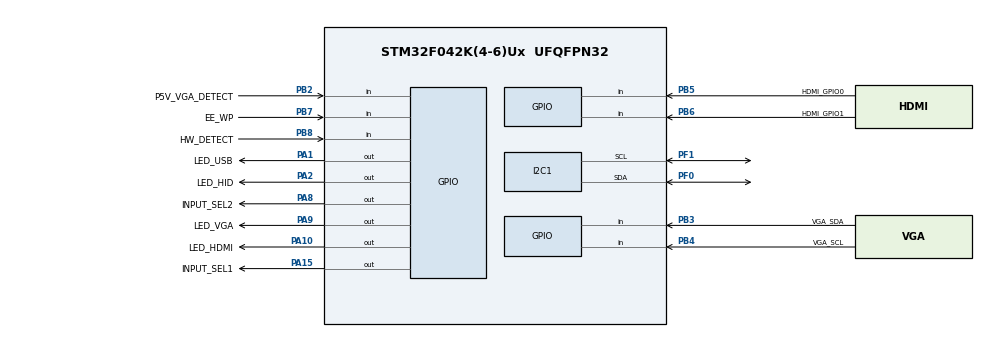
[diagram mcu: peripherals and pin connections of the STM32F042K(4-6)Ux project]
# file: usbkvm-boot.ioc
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Mcu.Family=STM32F0
PA9.GPIO_Label=LED_VGA
I2C1.I2C_Rise_Time=0x0
PB8.GPIO_PuPd=GPIO_PULLUP
PB6.GPIO_Label=HDMI_GPIO1
RCC.SYSCLKSource=RCC_SYSCLKSOURCE_HSI48
ProjectManager.StackSize=0x400
NVIC.I2C1_IRQn=true\:0\:0\:false\:false\:true\:true\:true
PA13.Signal=SYS_SWDIO
PB8.GPIO_Label=HW_DETECT
PA15.GPIO_Label=INPUT_SEL1
PA8.GPIO_Label=INPUT_SEL2
ProjectManager.TargetToolchain=Makefile
RCC.HCLKFreq_Value=48000000
PA9.Signal=GPIO_Output
PB6.Signal=GPIO_Input
PA1.Signal=GPIO_Output
RCC.AHBFreq_Value=48000000
PF0-OSC_IN.Mode=I2C
PB2.Signal=GPIO_Input
board=custom
I2C1.NoStretchMode=I2C_NOSTRETCH_ENABLE
PB4.GPIO_Label=VGA_SCL
PA14.Mode=Serial_Wire
PA1.GPIO_Label=LED_USB
PA10.GPIO_Label=LED_HDMI
PB7.Signal=GPIO_Input
PA8.Signal=GPIO_Output
PA13.Mode=Serial_Wire
Mcu.Name=STM32F042K(4-6)Ux
PB2.GPIO_PuPd=GPIO_PULLUP
PA2.Signal=GPIO_Output
I2C1.OwnAddress=0xa
PB7.GPIO_Label=EE_WP
PB3.Signal=GPIO_Input
RCC.SYSCLKFreq_VALUE=48000000
Mcu.Package=UFQFPN32
PB5.Signal=GPIO_Input
PA2.GPIO_Label=LED_HID
PA10.Signal=GPIO_Output
PA14.Signal=SYS_SWCLK
PB2.GPIO_Label=P5V_VGA_DETECT
PA15.Signal=GPIO_Output
ProjectManager.HeapSize=0x200
PB5.GPIO_Label=HDMI_GPIO0
RCC.APB1TimFreq_Value=48000000
PB8.Signal=GPIO_Input
PF0-OSC_IN.Signal=I2C1_SDA
PF1-OSC_OUT.Mode=I2C
RCC.APB1Freq_Value=48000000
VP_CRC_VS_CRC.Mode=CRC_Activate
PF1-OSC_OUT.Signal=I2C1_SCL
PB4.Signal=GPIO_Input
PB3.GPIO_Label=VGA_SDA

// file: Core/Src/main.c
/* USER CODE BEGIN Header */
/**
  ******************************************************************************
  * @file           : main.c
  * @brief          : Main program body
  ******************************************************************************
  * @attention
  *
  * <h2><center>&copy; Copyright (c) 2024 STMicroelectronics.
  * All rights reserved.</center></h2>
  *
  * This software component is licensed by ST under BSD 3-Clause license,
  * the "License"; You may not use this file except in compliance with the
  * License. You may obtain a copy of the License at:
  *                        opensource.org/licenses/BSD-3-Clause
  *
  ******************************************************************************
  */
/* USER CODE END Header */
#include "main.h"

/* USER CODE BEGIN Includes */
#include "../../../common/Inc/i2c_comm.h"
#include "../../../common/Inc/usbkvm_common.h"
#include "../../../common/Inc/flash_header.h"
#include "dfu.h"
#include <string.h>
/* USER CODE END Includes */

CRC_HandleTypeDef hcrc;

I2C_HandleTypeDef hi2c1;

void SystemClock_Config(void);
static void MX_GPIO_Init(void);
static void MX_I2C1_Init(void);
static void MX_CRC_Init(void);

/* USER CODE BEGIN 0 */

static const volatile flash_header_t *g_flash_header = (void*)(0x8000000+0x2000);

static uint8_t validate_app()
{
  if(g_flash_header->magic != FLASH_HEADER_MAGIC)
    return I2C_VERSION_BOOT_APP_INVALID_MAGIC;
  if(g_flash_header->header_crc != HAL_CRC_Calculate(&hcrc, (void*)g_flash_header, sizeof(flash_header_t)-4))
    return I2C_VERSION_BOOT_APP_HEADER_CRC_MISMATCH;
  if(g_flash_header->app_crc != HAL_CRC_Calculate(&hcrc, (void*)0x8000000+0x2000+0x20, g_flash_header->app_size))
    return I2C_VERSION_BOOT_APP_CRC_MISMATCH;
  return I2C_VERSION_BOOT_APP_OK;
}

void i2c_req_handle_get_info(const i2c_req_unknown_t *unk)
{
  uint8_t app_valid = validate_app();
  if(app_valid == I2C_VERSION_BOOT_APP_OK)
    i2c_resp_buf.info.version = g_flash_header->app_version | I2C_VERSION_BOOT;
  else
    i2c_resp_buf.info.version = app_valid | I2C_VERSION_BOOT;
  i2c_resp_buf.info.model = get_hw_model();
  i2c_resp_buf.info.seq = unk->seq;
}

void i2c_req_handle_flash_unlock(const i2c_req_unknown_t *unk)
{
  HAL_StatusTypeDef status = HAL_FLASH_Unlock();
  i2c_resp_buf.flash_status.success = (status == HAL_OK);
  i2c_resp_buf.flash_status.seq = unk->seq;
}

void i2c_req_handle_flash_erase(const i2c_req_boot_flash_erase_t *req)
{
  uint32_t PageError = 0;
  /* Variable contains Flash operation status */
  HAL_StatusTypeDef status;
  FLASH_EraseInitTypeDef eraseinitstruct;

  /* Clear OPTVERR bit set on virgin samples */

  eraseinitstruct.TypeErase = FLASH_TYPEERASE_PAGES;
  eraseinitstruct.PageAddress = req->first_page * FLASH_PAGE_SIZE;
  eraseinitstruct.NbPages = req->n_pages;
  status = HAL_FLASHEx_Erase(&eraseinitstruct, &PageError);

  i2c_resp_buf.flash_status.success = (status == HAL_OK);
  i2c_resp_buf.flash_status.seq = req->seq;
}

void i2c_req_handle_flash_write(const i2c_req_boot_flash_write_t *req)
{
  HAL_StatusTypeDef status = HAL_OK;
  for(uint16_t offset = 0; offset < sizeof(req->data); offset+=8) {
    uint64_t dat;
    memcpy(&dat, req->data + offset, 8);
    status = HAL_FLASH_Program(FLASH_TYPEPROGRAM_DOUBLEWORD, req->offset + offset, dat);
    if(status != HAL_OK)
      break;
  }

  i2c_resp_buf.flash_status.success = (status == HAL_OK);
  i2c_resp_buf.flash_status.seq = req->seq;
}

void i2c_req_handle_get_boot_version(const i2c_req_unknown_t *unk)
{
  i2c_resp_buf.boot_version.version = I2C_BOOT_VERSION;
  i2c_resp_buf.flash_status.seq = unk->seq;
}

typedef  void (*pFunction)(void);
pFunction JumpToApplication;
uint32_t JumpAddress;

static void start_app() {
  SysTick->CTRL = 0;
  HAL_NVIC_DisableIRQ(SysTick_IRQn);
  HAL_NVIC_DisableIRQ(I2C1_IRQn);

  /* Jump to user application */
  JumpAddress = *(__IO uint32_t*) (0x8002020 + 4);
  JumpToApplication = (pFunction) JumpAddress;

  /* Initialize user application's Stack Pointer */
  __set_MSP(*(__IO uint32_t*) 0x8002020);
  JumpToApplication();
  while(1)
    ;
}

static void i2c_req_dispatch(i2c_req_all_t *req)
{
  HAL_GPIO_TogglePin(LED_USB_GPIO_Port, LED_USB_Pin);
  switch(req->unk.type) {
    case I2C_REQ_COM_GET_INFO:
      i2c_req_handle_get_info(&req->unk);
      break;
    case I2C_REQ_BOOT_FLASH_UNLOCK:
      i2c_req_handle_flash_unlock(&req->unk);
      break;
    case I2C_REQ_BOOT_FLASH_LOCK:
      HAL_FLASH_Lock();
      break;
    case I2C_REQ_BOOT_FLASH_ERASE:
      i2c_req_handle_flash_erase(&req->flash_erase);
      break;
    case I2C_REQ_BOOT_FLASH_WRITE:
      i2c_req_handle_flash_write(&req->flash_write);
      break;
    case I2C_REQ_BOOT_START_APP:
      start_app();
      break;
    case I2C_REQ_BOOT_GET_BOOT_VERSION:
      i2c_req_handle_get_boot_version(&req->unk);
      break;
    case I2C_REQ_BOOT_ENTER_DFU:
      enter_dfu();
      break;
    default:;
  }
}

/* USER CODE END 0 */

int main(void)
{
  /* USER CODE BEGIN 1 */
  jump_to_dfu();
  /* USER CODE END 1 */

  /* MCU Configuration--------------------------------------------------------*/

  /* Reset of all peripherals, Initializes the Flash interface and the Systick. */
  HAL_Init();

  /* Configure the system clock */
  SystemClock_Config();

  /* Initialize all configured peripherals */
  MX_GPIO_Init();
  MX_I2C1_Init();
  MX_CRC_Init();
  /* USER CODE BEGIN 2 */

  update_hw_model();

  hi2c1.Instance->TXDR = 0x83;

  HAL_I2C_EnableListen_IT(&hi2c1);

  /* USER CODE END 2 */

  /* Infinite loop */
  /* USER CODE BEGIN WHILE */
  while (1)
  {
    i2c_req_all_t req;
    if(i2c_read_req(&req)) {
      i2c_req_dispatch(&req);
    }
    /* USER CODE END WHILE */

  }
}

void SystemClock_Config(void)
{
  LL_FLASH_SetLatency(LL_FLASH_LATENCY_1);
  while(LL_FLASH_GetLatency() != LL_FLASH_LATENCY_1)
  {
  }
  LL_RCC_HSI_Enable();

   /* Wait till HSI is ready */
  while(LL_RCC_HSI_IsReady() != 1)
  {

  }
  LL_RCC_HSI_SetCalibTrimming(16);
  LL_RCC_HSI48_Enable();

   /* Wait till HSI48 is ready */
  while(LL_RCC_HSI48_IsReady() != 1)
  {

  }
  LL_RCC_SetAHBPrescaler(LL_RCC_SYSCLK_DIV_1);
  LL_RCC_SetAPB1Prescaler(LL_RCC_APB1_DIV_1);
  LL_RCC_SetSysClkSource(LL_RCC_SYS_CLKSOURCE_HSI48);

   /* Wait till System clock is ready */
  while(LL_RCC_GetSysClkSource() != LL_RCC_SYS_CLKSOURCE_STATUS_HSI48)
  {

  }
  LL_SetSystemCoreClock(48000000);

   /* Update the time base */
  if (HAL_InitTick (TICK_INT_PRIORITY) != HAL_OK)
  {
    Error_Handler();
  }
  LL_RCC_SetI2CClockSource(LL_RCC_I2C1_CLKSOURCE_HSI);
}

static void MX_CRC_Init(void)
{

  hcrc.Instance = CRC;
  hcrc.Init.DefaultInitValueUse = DEFAULT_INIT_VALUE_ENABLE;
  hcrc.Init.InputDataInversionMode = CRC_INPUTDATA_INVERSION_NONE;
  hcrc.Init.OutputDataInversionMode = CRC_OUTPUTDATA_INVERSION_DISABLE;
  hcrc.InputDataFormat = CRC_INPUTDATA_FORMAT_BYTES;
  if (HAL_CRC_Init(&hcrc) != HAL_OK)
  {
    Error_Handler();
  }

}

static void MX_I2C1_Init(void)
{

  hi2c1.Instance = I2C1;
  hi2c1.Init.Timing = 0x2000090E;
  hi2c1.Init.OwnAddress1 = 20;
  hi2c1.Init.AddressingMode = I2C_ADDRESSINGMODE_7BIT;
  hi2c1.Init.DualAddressMode = I2C_DUALADDRESS_DISABLE;
  hi2c1.Init.OwnAddress2 = 0;
  hi2c1.Init.OwnAddress2Masks = I2C_OA2_NOMASK;
  hi2c1.Init.GeneralCallMode = I2C_GENERALCALL_DISABLE;
  hi2c1.Init.NoStretchMode = I2C_NOSTRETCH_ENABLE;
  if (HAL_I2C_Init(&hi2c1) != HAL_OK)
  {
    Error_Handler();
  }
  /** Configure Analogue filter
  */
  if (HAL_I2CEx_ConfigAnalogFilter(&hi2c1, I2C_ANALOGFILTER_ENABLE) != HAL_OK)
  {
    Error_Handler();
  }
  /** Configure Digital filter
  */
  if (HAL_I2CEx_ConfigDigitalFilter(&hi2c1, 0) != HAL_OK)
  {
    Error_Handler();
  }

}

static void MX_GPIO_Init(void)
{
  GPIO_InitTypeDef GPIO_InitStruct = {0};

  /* GPIO Ports Clock Enable */
  __HAL_RCC_GPIOF_CLK_ENABLE();
  __HAL_RCC_GPIOA_CLK_ENABLE();
  __HAL_RCC_GPIOB_CLK_ENABLE();

  /*Configure GPIO pin Output Level */
  HAL_GPIO_WritePin(GPIOA, LED_USB_Pin|LED_HID_Pin|INPUT_SEL2_Pin|LED_VGA_Pin
                          |LED_HDMI_Pin|INPUT_SEL1_Pin, GPIO_PIN_RESET);

  /*Configure GPIO pins : LED_USB_Pin LED_HID_Pin INPUT_SEL2_Pin LED_VGA_Pin
                           LED_HDMI_Pin INPUT_SEL1_Pin */
  GPIO_InitStruct.Pin = LED_USB_Pin|LED_HID_Pin|INPUT_SEL2_Pin|LED_VGA_Pin
                          |LED_HDMI_Pin|INPUT_SEL1_Pin;
  GPIO_InitStruct.Mode = GPIO_MODE_OUTPUT_PP;
  GPIO_InitStruct.Pull = GPIO_NOPULL;
  GPIO_InitStruct.Speed = GPIO_SPEED_FREQ_LOW;
  HAL_GPIO_Init(GPIOA, &GPIO_InitStruct);

  /*Configure GPIO pins : P5V_VGA_DETECT_Pin HW_DETECT_Pin */
  GPIO_InitStruct.Pin = P5V_VGA_DETECT_Pin|HW_DETECT_Pin;
  GPIO_InitStruct.Mode = GPIO_MODE_INPUT;
  GPIO_InitStruct.Pull = GPIO_PULLUP;
  HAL_GPIO_Init(GPIOB, &GPIO_InitStruct);

  /*Configure GPIO pins : VGA_SDA_Pin VGA_SCL_Pin HDMI_GPIO0_Pin HDMI_GPIO1_Pin
                           EE_WP_Pin */
  GPIO_InitStruct.Pin = VGA_SDA_Pin|VGA_SCL_Pin|HDMI_GPIO0_Pin|HDMI_GPIO1_Pin
                          |EE_WP_Pin;
  GPIO_InitStruct.Mode = GPIO_MODE_INPUT;
  GPIO_InitStruct.Pull = GPIO_NOPULL;
  HAL_GPIO_Init(GPIOB, &GPIO_InitStruct);

}

void Error_Handler(void)
{
  __disable_irq();
  while (1)
  {
  }
}

/************************ (C) COPYRIGHT STMicroelectronics *****END OF FILE****/
